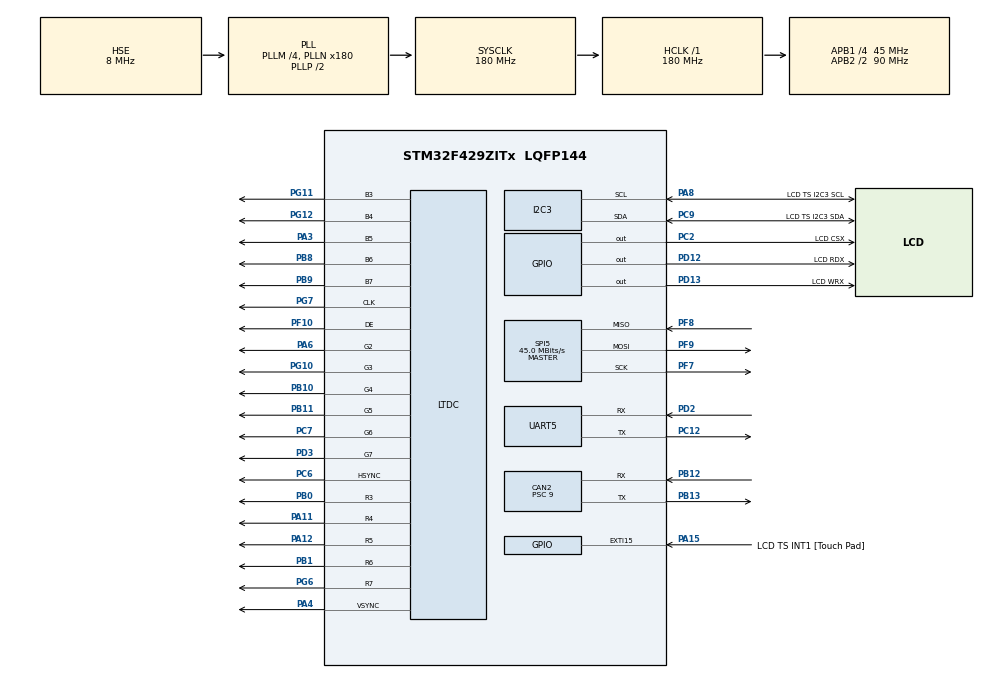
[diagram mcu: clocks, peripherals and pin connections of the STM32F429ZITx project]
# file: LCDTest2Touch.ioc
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Mcu.Family=STM32F4
PD12.GPIO_Label=LCD RDX
PA6.Mode=RGB565
RCC.CortexFreq_Value=180000000
PG6.Signal=LTDC_R7
NVIC.CAN2_RX0_IRQn=true\:0\:0\:false\:false\:true\:true\:true
PB10.Mode=RGB565
LTDC.HBP=20
CAN2.CalculateTimeBit=4000.00
PC10.Signal=LTDC_R2
PC12.Signal=UART5_TX
PA11.Mode=RGB565
PB11.Signal=LTDC_G5
PB13.Signal=CAN2_TX
PG6.Mode=RGB565
PG11.Signal=LTDC_B3
RCC.SYSCLKSource=RCC_SYSCLKSOURCE_PLLCLK
ProjectManager.StackSize=0x400
PD13.Signal=GPIO_Output
PA15.GPIO_Label=LCD TS INT1 [Touch Pad]
PA12.Signal=LTDC_R5
PA4.Mode=RGB565
PF7.Signal=SPI5_SCK
PA15.GPIO_ModeDefaultEXTI=GPIO_MODE_IT_FALLING
PH0/OSC_IN.Mode=HSE-External-Oscillator
RCC.HCLKFreq_Value=180000000
RCC.APB2TimFreq_Value=180000000
PC7.Signal=LTDC_G6
LTDC.WindowX1_L0=240
PH1/OSC_OUT.Signal=RCC_OSC_OUT
RCC.AHBFreq_Value=180000000
NVIC.EXTI15_10_IRQn=true\:15\:0\:true\:false\:true\:true\:true
RCC.HSE_VALUE=8000000
LTDC.PixelFormat_L0=LTDC_PIXEL_FORMAT_RGB565
PF9.Mode=Full_Duplex_Master
CAN2.Prescaler=9
PC9.Mode=I2C
LTDC.HFP=10
PA8.Signal=I2C3_SCL
PF8.Mode=Full_Duplex_Master
PD3.Mode=RGB565
LTDC.ActiveW=240
PH1/OSC_OUT.Mode=HSE-External-Oscillator
LTDC.HSync=10
PD13.GPIO_Label=LCD WRX
Mcu.Package=LQFP144
PB9.Signal=LTDC_B7
SPI5.BaudRatePrescaler=SPI_BAUDRATEPRESCALER_2
PB1.Signal=LTDC_R6
PA6.Signal=LTDC_G2
PB12.Mode=CAN_Activate
CAN2.BS1=CAN_BS1_16TQ
CAN2.BS2=CAN_BS2_3TQ
PD12.Signal=GPIO_Output
PA15.Signal=GPXTI15
PF8.Signal=SPI5_MISO
RCC.PLLSAIN=60
SPI5.CalculateBaudRate=45.0 MBits/s
RCC.PLLSAIR=5
RCC.APB2CLKDivider=RCC_HCLK_DIV2
LTDC.VSync=2
RCC.APB1TimFreq_Value=90000000
PF10.Mode=RGB565
PB13.Mode=CAN_Activate
PD6.Signal=LTDC_B2
PC2.GPIO_Label=LCD CSX
SPI5.VirtualType=VM_MASTER
PA3.Signal=LTDC_B5
PG12.Signal=LTDC_B4
RCC.PLLSourceVirtual=RCC_PLLSOURCE_HSE
CAN2.CalculateBaudRate=250000
LTDC.VFP=4
LTDC.WindowY1_L0=320
PG7.Signal=LTDC_CLK
PC9.GPIO_Label=LCD TS I2C3 SDA
PD3.Signal=LTDC_G7
PC2.Signal=GPIO_Output
PC6.Signal=LTDC_HSYNC
PG10.Mode=RGB565
UART5.VirtualMode=Asynchronous
RCC.APB1CLKDivider=RCC_HCLK_DIV4
SPI5.Mode=SPI_MODE_MASTER
PG10.Signal=LTDC_G3
LTDC.ImageWidth_L0=240
PA3.Mode=RGB565
PF7.Mode=Full_Duplex_Master
PA8.GPIO_Label=LCD TS I2C3 SCL
PB11.Mode=RGB565
ProjectManager.TargetToolchain=STM32CubeIDE
LTDC.ActiveH=320
PC6.Mode=RGB565
PB9.Mode=RGB565
PG7.Mode=RGB565
RCC.LSE_VALUE=32768
PB10.Signal=LTDC_G4
PD2.Mode=Asynchronous
PC12.Mode=Asynchronous
PB0.Mode=RGB565
board=custom
PG12.Mode=RGB565
RCC.VCOOutputFreq_Value=360000000
PH0/OSC_IN.Signal=RCC_OSC_IN
RCC.APB2Freq_Value=90000000
LTDC.Layers=0
PF10.Signal=LTDC_DE
CAN2.CalculateTimeQuantum=200.0
Mcu.Name=STM32F429ZITx
RCC.48MHZClocksFreq_Value=90000000
PA4.Signal=LTDC_VSYNC
RCC.SYSCLKFreq_VALUE=180000000
PA12.Mode=RGB565
SPI5.CRCCalculation=SPI_CRCCALCULATION_DISABLE
PG11.Mode=RGB565
LTDC.Alpha_L0=255
PA11.Signal=LTDC_R4
ProjectManager.HeapSize=0x200
PB1.Mode=RGB565
PF9.Signal=SPI5_MOSI
RCC.HSI_VALUE=16000000
NVIC.PriorityGroup=NVIC_PRIORITYGROUP_4
RCC.PLLM=4
PB8.Mode=RGB565
RCC.PLLN=180
PA15.GPIO_PuPd=GPIO_PULLUP
PB8.Signal=LTDC_B6
PA8.Mode=I2C
PC9.Signal=I2C3_SDA
PC7.Mode=RGB565
PD2.Signal=UART5_RX
RCC.APB1Freq_Value=45000000
LTDC.ImageHeight_L0=320
PB0.Signal=LTDC_R3
PB12.Signal=CAN2_RX
SPI5.Direction=SPI_DIRECTION_2LINES

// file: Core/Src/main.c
/* USER CODE BEGIN Header */
/**
 ******************************************************************************
 * @file           : main.c
 * @brief          : Main program body
 ******************************************************************************
 * @attention
 *
 * <h2><center>&copy; Copyright (c) 2021 STMicroelectronics.
 * All rights reserved.</center></h2>
 *
 * This software component is licensed by ST under BSD 3-Clause license,
 * the "License"; You may not use this file except in compliance with the
 * License. You may obtain a copy of the License at:
 *                        opensource.org/licenses/BSD-3-Clause
 *
 ******************************************************************************
 */
/* USER CODE END Header */
#include "main.h"

/* USER CODE BEGIN Includes */
#include <stdio.h>
#include <string.h>

#include "extlib/lcd/ili9341.h"
#include "extlib/lcd/stmpe811.h"

#include "st_logo1.h"
#include "st_logo2.h"

/* USER CODE END Includes */

/* USER CODE BEGIN PD */
#define STMPE811_DEVICE_ID  0x82
/* USER CODE END PD */

CAN_HandleTypeDef hcan2;

I2C_HandleTypeDef hi2c3;

LTDC_HandleTypeDef hltdc;

SPI_HandleTypeDef hspi5;

UART_HandleTypeDef huart5;

void SystemClock_Config(void);
static void MX_GPIO_Init(void);
static void MX_CAN2_Init(void);
static void MX_UART5_Init(void);
static void MX_I2C3_Init(void);
static void MX_SPI5_Init(void);
static void MX_LTDC_Init(void);

/* USER CODE BEGIN 0 */
int __io_putchar(int ch)
{
    if(HAL_UART_Transmit(&huart5, (uint8_t *)&ch, 1, 10) != HAL_OK)
        return -1;
    return ch;
}

void HAL_GPIO_EXTI_Callback(uint16_t GPIO_Pin)
{
    if(GPIO_Pin  == LCD_TS_INT1_Pin)
    {
        uint32_t _x = 0, _y = 0;
        uint16_t TsYBoundary = 320;
        uint16_t TsXBoundary = 240;
        uint16_t xDiff, yDiff , x , y, xr, yr;

        stmpe811_TS_GetXY(STMPE811_DEVICE_ID, &x, &y);

        /* Y value first correction */
        y -= 360;
        /* Y value second correction */
        yr = y / 11;

        /* Return y position value */
        if(yr <= 0)
        {
            yr = 0;
        }
        else if (yr > TsYBoundary)
        {
            yr = TsYBoundary - 1;
        }
        y = yr;

        /* X value first correction */
        if(x <= 3000)
        {
            x = 3870 - x;
        }
        else
        {
            x = 3800 - x;
        }

        /* X value second correction */
        xr = x / 15;

        /* Return X position value */
        if(xr <= 0)
        {
            xr = 0;
        }
        else if (xr > TsXBoundary)
        {
            xr = TsXBoundary - 1;
        }
        x = xr;
        xDiff = x > _x? (x - _x): (_x - x);
        yDiff = y > _y? (y - _y): (_y - y);

        if (xDiff + yDiff > 5)
        {
            _x = x;
            _y = y;
        }

        printf("x = %ld, y = %ld\r\n", _x, _y);
        stmpe811_TS_ClearIT(STMPE811_DEVICE_ID);
    }
}

/* USER CODE END 0 */

int main(void)
{

    /* MCU Configuration--------------------------------------------------------*/

    /* Reset of all peripherals, Initializes the Flash interface and the Systick. */
    HAL_Init();

    /* Configure the system clock */
    SystemClock_Config();

    /* Initialize all configured peripherals */
    MX_GPIO_Init();
    MX_CAN2_Init();
    MX_UART5_Init();
    MX_I2C3_Init();
    MX_SPI5_Init();
    MX_LTDC_Init();
    /* USER CODE BEGIN 2 */

    stmpe811_Init(STMPE811_DEVICE_ID);
    stmpe811_TS_EnableIT(STMPE811_DEVICE_ID);
    stmpe811_TS_Start(STMPE811_DEVICE_ID);

    /* USER CODE END 2 */

    /* Infinite loop */
    while (1)
    {

    }
}

void SystemClock_Config(void)
{
    RCC_OscInitTypeDef RCC_OscInitStruct = {0};
    RCC_ClkInitTypeDef RCC_ClkInitStruct = {0};
    RCC_PeriphCLKInitTypeDef PeriphClkInitStruct = {0};

    /** Configure the main internal regulator output voltage
    */
    __HAL_RCC_PWR_CLK_ENABLE();
    __HAL_PWR_VOLTAGESCALING_CONFIG(PWR_REGULATOR_VOLTAGE_SCALE1);
    /** Initializes the RCC Oscillators according to the specified parameters
     * in the RCC_OscInitTypeDef structure.
     */
    RCC_OscInitStruct.OscillatorType = RCC_OSCILLATORTYPE_HSE;
    RCC_OscInitStruct.HSEState = RCC_HSE_ON;
    RCC_OscInitStruct.PLL.PLLState = RCC_PLL_ON;
    RCC_OscInitStruct.PLL.PLLSource = RCC_PLLSOURCE_HSE;
    RCC_OscInitStruct.PLL.PLLM = 4;
    RCC_OscInitStruct.PLL.PLLN = 180;
    RCC_OscInitStruct.PLL.PLLP = RCC_PLLP_DIV2;
    RCC_OscInitStruct.PLL.PLLQ = 4;
    if (HAL_RCC_OscConfig(&RCC_OscInitStruct) != HAL_OK)
    {
        Error_Handler();
    }
    /** Activate the Over-Drive mode
    */
    if (HAL_PWREx_EnableOverDrive() != HAL_OK)
    {
        Error_Handler();
    }
    /** Initializes the CPU, AHB and APB buses clocks
    */
    RCC_ClkInitStruct.ClockType = RCC_CLOCKTYPE_HCLK|RCC_CLOCKTYPE_SYSCLK
        |RCC_CLOCKTYPE_PCLK1|RCC_CLOCKTYPE_PCLK2;
    RCC_ClkInitStruct.SYSCLKSource = RCC_SYSCLKSOURCE_PLLCLK;
    RCC_ClkInitStruct.AHBCLKDivider = RCC_SYSCLK_DIV1;
    RCC_ClkInitStruct.APB1CLKDivider = RCC_HCLK_DIV4;
    RCC_ClkInitStruct.APB2CLKDivider = RCC_HCLK_DIV2;

    if (HAL_RCC_ClockConfig(&RCC_ClkInitStruct, FLASH_LATENCY_5) != HAL_OK)
    {
        Error_Handler();
    }
    PeriphClkInitStruct.PeriphClockSelection = RCC_PERIPHCLK_LTDC;
    PeriphClkInitStruct.PLLSAI.PLLSAIN = 60;
    PeriphClkInitStruct.PLLSAI.PLLSAIR = 5;
    PeriphClkInitStruct.PLLSAIDivR = RCC_PLLSAIDIVR_2;
    if (HAL_RCCEx_PeriphCLKConfig(&PeriphClkInitStruct) != HAL_OK)
    {
        Error_Handler();
    }
}

static void MX_CAN2_Init(void)
{

    hcan2.Instance = CAN2;
    hcan2.Init.Prescaler = 9;
    hcan2.Init.Mode = CAN_MODE_NORMAL;
    hcan2.Init.SyncJumpWidth = CAN_SJW_1TQ;
    hcan2.Init.TimeSeg1 = CAN_BS1_16TQ;
    hcan2.Init.TimeSeg2 = CAN_BS2_3TQ;
    hcan2.Init.TimeTriggeredMode = DISABLE;
    hcan2.Init.AutoBusOff = DISABLE;
    hcan2.Init.AutoWakeUp = DISABLE;
    hcan2.Init.AutoRetransmission = DISABLE;
    hcan2.Init.ReceiveFifoLocked = DISABLE;
    hcan2.Init.TransmitFifoPriority = DISABLE;
    if (HAL_CAN_Init(&hcan2) != HAL_OK)
    {
        Error_Handler();
    }

}

static void MX_I2C3_Init(void)
{

    hi2c3.Instance = I2C3;
    hi2c3.Init.ClockSpeed = 100000;
    hi2c3.Init.DutyCycle = I2C_DUTYCYCLE_2;
    hi2c3.Init.OwnAddress1 = 0;
    hi2c3.Init.AddressingMode = I2C_ADDRESSINGMODE_7BIT;
    hi2c3.Init.DualAddressMode = I2C_DUALADDRESS_DISABLE;
    hi2c3.Init.OwnAddress2 = 0;
    hi2c3.Init.GeneralCallMode = I2C_GENERALCALL_DISABLE;
    hi2c3.Init.NoStretchMode = I2C_NOSTRETCH_DISABLE;
    if (HAL_I2C_Init(&hi2c3) != HAL_OK)
    {
        Error_Handler();
    }
    /** Configure Analogue filter
    */
    if (HAL_I2CEx_ConfigAnalogFilter(&hi2c3, I2C_ANALOGFILTER_ENABLE) != HAL_OK)
    {
        Error_Handler();
    }
    /** Configure Digital filter
    */
    if (HAL_I2CEx_ConfigDigitalFilter(&hi2c3, 0) != HAL_OK)
    {
        Error_Handler();
    }

}

static void MX_LTDC_Init(void)
{

    LTDC_LayerCfgTypeDef pLayerCfg = {0};

    /* USER CODE BEGIN LTDC_Init 1 */
    ili9341_Init();
    /* USER CODE END LTDC_Init 1 */
    hltdc.Instance = LTDC;
    hltdc.Init.HSPolarity = LTDC_HSPOLARITY_AL;
    hltdc.Init.VSPolarity = LTDC_VSPOLARITY_AL;
    hltdc.Init.DEPolarity = LTDC_DEPOLARITY_AL;
    hltdc.Init.PCPolarity = LTDC_PCPOLARITY_IPC;
    hltdc.Init.HorizontalSync = 9;
    hltdc.Init.VerticalSync = 1;
    hltdc.Init.AccumulatedHBP = 29;
    hltdc.Init.AccumulatedVBP = 3;
    hltdc.Init.AccumulatedActiveW = 269;
    hltdc.Init.AccumulatedActiveH = 323;
    hltdc.Init.TotalWidth = 279;
    hltdc.Init.TotalHeigh = 327;
    hltdc.Init.Backcolor.Blue = 0;
    hltdc.Init.Backcolor.Green = 0;
    hltdc.Init.Backcolor.Red = 0;
    if (HAL_LTDC_Init(&hltdc) != HAL_OK)
    {
        Error_Handler();
    }

    /* USER CODE BEGIN LTDC_Init 2 */
    memset(&pLayerCfg, 0, sizeof(LTDC_LayerCfgTypeDef));
    pLayerCfg.WindowX0 = 0;
    pLayerCfg.WindowX1 = 240;
    pLayerCfg.WindowY0 = 0;
    pLayerCfg.WindowY1 = 320;
    pLayerCfg.PixelFormat = LTDC_PIXEL_FORMAT_RGB565;
    pLayerCfg.Alpha = 255;
    pLayerCfg.Alpha0 = 0;
    pLayerCfg.BlendingFactor1 = LTDC_BLENDING_FACTOR1_CA;
    pLayerCfg.BlendingFactor2 = LTDC_BLENDING_FACTOR2_CA;
    pLayerCfg.FBStartAdress = (uint32_t)&ST_LOGO_1[0];
    pLayerCfg.ImageWidth = 240;
    pLayerCfg.ImageHeight = 160;
    pLayerCfg.Backcolor.Blue = 0;
    pLayerCfg.Backcolor.Green = 0;
    pLayerCfg.Backcolor.Red = 0;
    if (HAL_LTDC_ConfigLayer(&hltdc, &pLayerCfg, 0) != HAL_OK)
    {
        Error_Handler();
    }

    memset(&pLayerCfg, 0, sizeof(LTDC_LayerCfgTypeDef));
    pLayerCfg.WindowX0 = 0;
    pLayerCfg.WindowX1 = 240;
    pLayerCfg.WindowY0 = 160;
    pLayerCfg.WindowY1 = 320;
    pLayerCfg.PixelFormat = LTDC_PIXEL_FORMAT_RGB565;
    pLayerCfg.Alpha = 200;
    pLayerCfg.Alpha0 = 0;
    pLayerCfg.BlendingFactor1 = LTDC_BLENDING_FACTOR1_CA;
    pLayerCfg.BlendingFactor2 = LTDC_BLENDING_FACTOR2_CA;
    pLayerCfg.FBStartAdress = (uint32_t)&ST_LOGO_2[0];
    pLayerCfg.ImageWidth = 240;
    pLayerCfg.ImageHeight = 160;
    pLayerCfg.Backcolor.Blue = 0;
    pLayerCfg.Backcolor.Green = 0;
    pLayerCfg.Backcolor.Red = 0;
    if (HAL_LTDC_ConfigLayer(&hltdc, &pLayerCfg, 1) != HAL_OK)
    {
        Error_Handler();
    }
    /* USER CODE END LTDC_Init 2 */
}

static void MX_SPI5_Init(void)
{

    /* SPI5 parameter configuration*/
    hspi5.Instance = SPI5;
    hspi5.Init.Mode = SPI_MODE_MASTER;
    hspi5.Init.Direction = SPI_DIRECTION_2LINES;
    hspi5.Init.DataSize = SPI_DATASIZE_8BIT;
    hspi5.Init.CLKPolarity = SPI_POLARITY_LOW;
    hspi5.Init.CLKPhase = SPI_PHASE_1EDGE;
    hspi5.Init.NSS = SPI_NSS_SOFT;
    hspi5.Init.BaudRatePrescaler = SPI_BAUDRATEPRESCALER_2;
    hspi5.Init.FirstBit = SPI_FIRSTBIT_MSB;
    hspi5.Init.TIMode = SPI_TIMODE_DISABLE;
    hspi5.Init.CRCCalculation = SPI_CRCCALCULATION_DISABLE;
    hspi5.Init.CRCPolynomial = 10;
    if (HAL_SPI_Init(&hspi5) != HAL_OK)
    {
        Error_Handler();
    }

}

static void MX_UART5_Init(void)
{

    huart5.Instance = UART5;
    huart5.Init.BaudRate = 115200;
    huart5.Init.WordLength = UART_WORDLENGTH_8B;
    huart5.Init.StopBits = UART_STOPBITS_1;
    huart5.Init.Parity = UART_PARITY_NONE;
    huart5.Init.Mode = UART_MODE_TX_RX;
    huart5.Init.HwFlowCtl = UART_HWCONTROL_NONE;
    huart5.Init.OverSampling = UART_OVERSAMPLING_16;
    if (HAL_UART_Init(&huart5) != HAL_OK)
    {
        Error_Handler();
    }

}

static void MX_GPIO_Init(void)
{
    GPIO_InitTypeDef GPIO_InitStruct = {0};

    /* GPIO Ports Clock Enable */
    __HAL_RCC_GPIOF_CLK_ENABLE();
    __HAL_RCC_GPIOH_CLK_ENABLE();
    __HAL_RCC_GPIOC_CLK_ENABLE();
    __HAL_RCC_GPIOA_CLK_ENABLE();
    __HAL_RCC_GPIOB_CLK_ENABLE();
    __HAL_RCC_GPIOD_CLK_ENABLE();
    __HAL_RCC_GPIOG_CLK_ENABLE();

    /*Configure GPIO pin Output Level */
    HAL_GPIO_WritePin(LCD_CSX_GPIO_Port, LCD_CSX_Pin, GPIO_PIN_RESET);

    /*Configure GPIO pin Output Level */
    HAL_GPIO_WritePin(GPIOD, LCD_RDX_Pin|LCD_WRX_Pin, GPIO_PIN_RESET);

    /*Configure GPIO pin : LCD_CSX_Pin */
    GPIO_InitStruct.Pin = LCD_CSX_Pin;
    GPIO_InitStruct.Mode = GPIO_MODE_OUTPUT_PP;
    GPIO_InitStruct.Pull = GPIO_NOPULL;
    GPIO_InitStruct.Speed = GPIO_SPEED_FREQ_LOW;
    HAL_GPIO_Init(LCD_CSX_GPIO_Port, &GPIO_InitStruct);

    /*Configure GPIO pins : LCD_RDX_Pin LCD_WRX_Pin */
    GPIO_InitStruct.Pin = LCD_RDX_Pin|LCD_WRX_Pin;
    GPIO_InitStruct.Mode = GPIO_MODE_OUTPUT_PP;
    GPIO_InitStruct.Pull = GPIO_NOPULL;
    GPIO_InitStruct.Speed = GPIO_SPEED_FREQ_LOW;
    HAL_GPIO_Init(GPIOD, &GPIO_InitStruct);

    /*Configure GPIO pin : LCD_TS_INT1_Pin */
    GPIO_InitStruct.Pin = LCD_TS_INT1_Pin;
    GPIO_InitStruct.Mode = GPIO_MODE_IT_FALLING;
    GPIO_InitStruct.Pull = GPIO_PULLUP;
    HAL_GPIO_Init(LCD_TS_INT1_GPIO_Port, &GPIO_InitStruct);

    /* EXTI interrupt init*/
    HAL_NVIC_SetPriority(EXTI15_10_IRQn, 15, 0);
    HAL_NVIC_EnableIRQ(EXTI15_10_IRQn);

}

void Error_Handler(void)
{
    __disable_irq();
    while (1)
    {
    }
}

/************************ (C) COPYRIGHT STMicroelectronics *****END OF FILE****/
